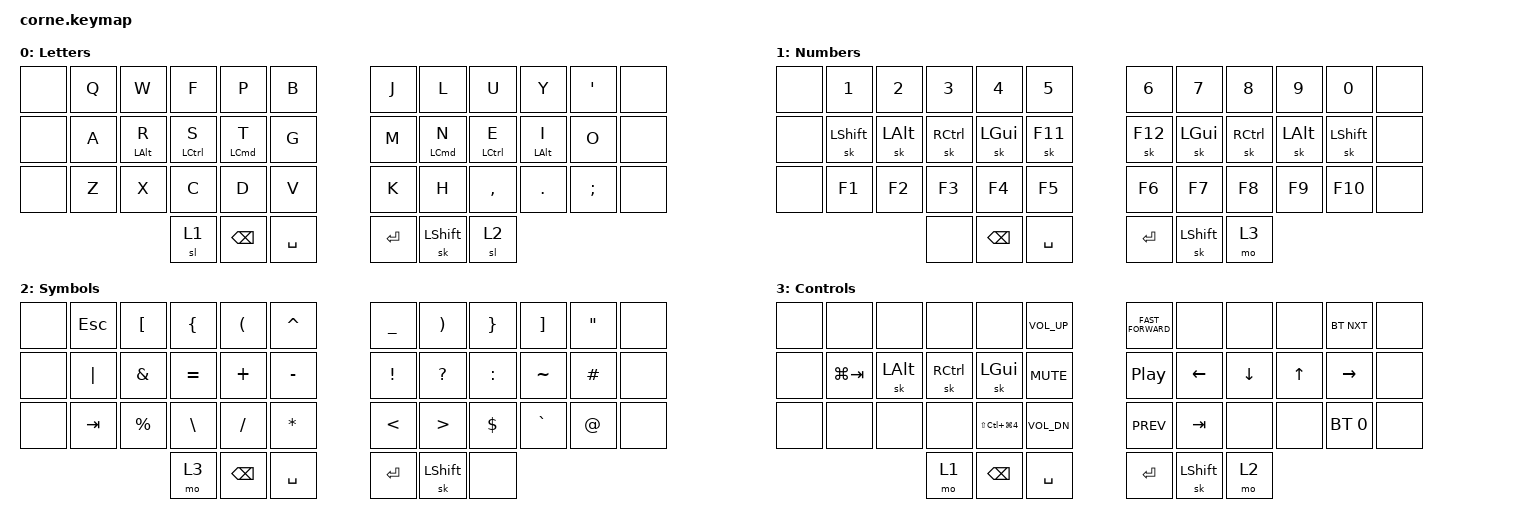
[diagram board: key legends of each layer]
/*
 * Copyright (c) 2020 The ZMK Contributors
 *
 * SPDX-License-Identifier: MIT
 */

#include <behaviors.dtsi>
#include <dt-bindings/zmk/bt.h>
#include <dt-bindings/zmk/keys.h>

/ {
    combos {
        compatible = "zmk,combos";

        clearbt {
            bindings = <&bt BT_CLR>;
            key-positions = <34 10>;
            layers = <3>;
        };

        macro1 {
            bindings = <&new_macro>;
            key-positions = <1 2>;
            layers = <3>;
        };

        macro2 {
            bindings = <&new_macro2>;
            key-positions = <25 26>;
            layers = <3>;
        };
    };

    behaviors {
        hml: hml {
            compatible = "zmk,behavior-hold-tap";
            label = "HML";
            bindings = <&kp>, <&kp>;

            #binding-cells = <2>;
            tapping-term-ms = <280>;
            quick-tap-ms = <175>;
            require-prior-idle-ms = <150>;
            flavor = "balanced";
            hold-trigger-key-positions = <6 30 39 18 40 41 19 7 7 8 9 10 11 19 20 21 22 23 31 32 33 34 35>;
            hold-trigger-on-release;
        };

        hmr: hmr {
            compatible = "zmk,behavior-hold-tap";
            label = "HMR";
            bindings = <&kp>, <&kp>;

            #binding-cells = <2>;
            tapping-term-ms = <280>;
            quick-tap-ms = <175>;
            require-prior-idle-ms = <150>;
            flavor = "balanced";
            hold-trigger-key-positions = <0 1 2 3 4 5 12 13 14 15 16 17 24 25 26 27 28 29 36 37 38>;
            hold-trigger-on-release;
        };
    };

    macros {
        new_macro: new_macro {
            compatible = "zmk,behavior-macro";
            #binding-cells = <0>;
            bindings = <&kp N7 &kp N5 &kp N3 &kp N1 &kp N6 &kp N4 &kp N2 &kp N0>;
            label = "NEW_MACRO";
        };

        new_macro2: new_macro2 {
            compatible = "zmk,behavior-macro";
            #binding-cells = <0>;
            bindings = <&kp LS(N) &kp L &kp H &kp DOT &kp N0 &kp N5 &kp FSLH &kp N1 &kp N7 &kp EXCL>;
            label = "NEW_MACRO2";
        };
    };

    keymap {
        compatible = "zmk,keymap";

        default_layer {
            // -----------------------------------------------------------------------------------------
            // |  TAB |  Q  |  W  |  E  |  R  |  T  |   |  Y  |  U   |  I  |  O  |  P  | BKSP |
            // | CTRL |  A  |  S  |  D  |  F  |  G  |   |  H  |  J   |  K  |  L  |  ;  |  '   |
            // | SHFT |  Z  |  X  |  C  |  V  |  B  |   |  N  |  M   |  ,  |  .  |  /  | ESC  |
            //                    | GUI | LWR | SPC |   | ENT | RSE  | ALT |

            bindings = <
&none  &kp Q  &kp W            &kp F                &kp P                &kp B        &kp J    &kp L                &kp U                &kp Y            &kp SINGLE_QUOTE  &none
&none  &kp A  &hml LEFT_ALT R  &hml LEFT_CONTROL S  &hml LEFT_COMMAND T  &kp G        &kp M    &hmr LEFT_COMMAND N  &hmr LEFT_CONTROL E  &hmr LEFT_ALT I  &kp O             &none
&none  &kp Z  &kp X            &kp C                &kp D                &kp V        &kp K    &kp H                &kp COMMA            &kp DOT          &kp SEMI          &none
                               &sl 1                &kp BACKSPACE        &kp SPACE    &kp RET  &sk LEFT_SHIFT       &sl 2
            >;

            label = "Letters";
        };

        num_layer {
            // -----------------------------------------------------------------------------------------
            // |  TAB |  1  |  2  |  3  |  4  |  5  |   |  6  |  7  |  8  |  9  |  0  | BKSP |
            // | BTCLR| BT1 | BT2 | BT3 | BT4 | BT5 |   | LFT | DWN |  UP | RGT |     |      |
            // | SHFT |     |     |     |     |     |   |     |     |     |     |     |      |
            //                    | GUI |     | SPC |   | ENT |     | ALT |

            bindings = <
&none  &kp N1     &kp N2    &kp N3     &kp N4         &kp N5       &kp N6   &kp N7          &kp N8     &kp N9    &kp N0     &none
&none  &sk LSHFT  &sk LALT  &sk RCTRL  &sk LGUI       &sk F11      &sk F12  &sk LGUI        &sk RCTRL  &sk LALT  &sk LSHFT  &none
&none  &kp F1     &kp F2    &kp F3     &kp F4         &kp F5       &kp F6   &kp F7          &kp F8     &kp F9    &kp F10    &none
                            &none      &kp BACKSPACE  &kp SPACE    &kp RET  &sk LEFT_SHIFT  &mo 3
            >;

            label = "Numbers";
        };

        sym_layer {
            bindings = <
&none  &kp ESC   &kp LBKT       &kp LEFT_BRACE  &kp LEFT_PARENTHESIS  &kp CARET       &kp UNDER        &kp RIGHT_PARENTHESIS  &kp RIGHT_BRACE  &kp RBKT   &kp DOUBLE_QUOTES  &none
&none  &kp PIPE  &kp AMPERSAND  &kp EQUAL       &kp PLUS              &kp MINUS       &kp EXCLAMATION  &kp QUESTION           &kp COLON        &kp TILDE  &kp HASH           &none
&none  &kp TAB   &kp PERCENT    &kp BACKSLASH   &kp SLASH             &kp ASTERISK    &kp LESS_THAN    &kp GREATER_THAN       &kp DOLLAR       &kp GRAVE  &kp AT_SIGN        &none
                                &mo 3           &kp BACKSPACE         &kp SPACE       &kp RET          &sk LEFT_SHIFT         &none
            >;

            label = "Symbols";
        };

        con_layer {
            bindings = <
&none  &none        &none     &none      &none                     &kp C_VOLUME_UP    &kp C_FAST_FORWARD  &none           &none     &none   &bt BT_NXT    &none
&none  &kp LG(TAB)  &sk LALT  &sk RCTRL  &sk LGUI                  &kp C_MUTE         &kp C_PLAY_PAUSE    &kp LEFT        &kp DOWN  &kp UP  &kp RIGHT     &none
&none  &none        &none     &none      &kp LS(LC(LG(NUMBER_4)))  &kp C_VOL_DN       &kp C_PREV          &kp TAB         &none     &none   &bt BT_SEL 0  &none
                              &mo 1      &kp BACKSPACE             &kp SPACE          &kp ENTER           &sk LEFT_SHIFT  &mo 2
            >;

            label = "Controls";
        };
    };
};
